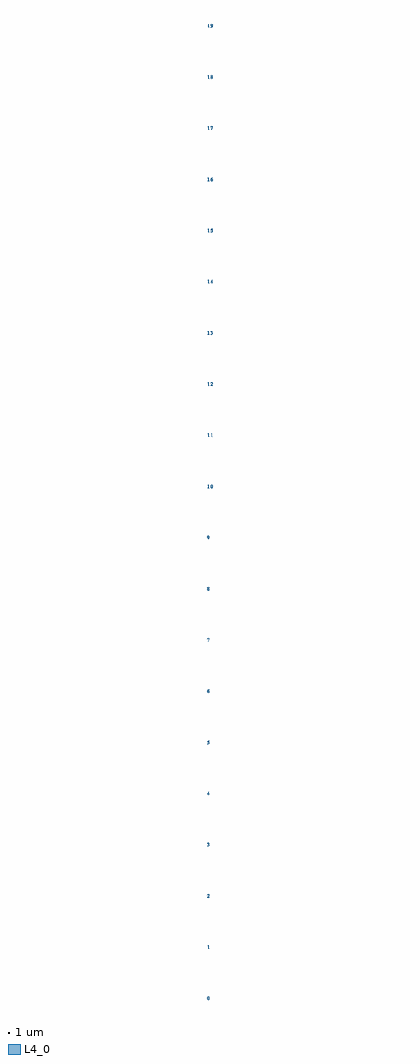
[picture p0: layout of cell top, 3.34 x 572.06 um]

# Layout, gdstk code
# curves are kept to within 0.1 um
import gdstk
lib = gdstk.Library(unit=1e-6, precision=1e-09)
def P(c, l, *ps):  # polygons
    for p in ps: c.add(gdstk.Polygon(p, *l))
L4_0 = (4, 0)

top = lib.new_cell('top')
P(top, L4_0, [(22.734,4.969),(22.6,4.989),(22.461,5.063),(22.83,5.08),(22.954,5.173),(23.023,5.322),(23.09,5.672),(23.108,6.162),(23.065,6.523),(22.96,6.813),(22.89,6.89),(22.795,6.934),(22.704,6.932),(22.618,6.885),(22.486,6.686),(22.413,6.332),(22.392,5.838),(22.442,5.453),(22.572,5.148),(22.652,5.084),(22.75,5.063),(22.461,5.063),(22.314,5.22),(22.17,5.525),(22.109,5.984),(22.149,6.374),(22.297,6.735),(22.516,6.959),(22.75,7.031),(22.892,7.008),(23.025,6.94),(23.223,6.72),(23.349,6.404),(23.391,6.016),(23.351,5.626),(23.206,5.267),(23.002,5.052),(22.889,4.996)],
  [(22.391,35),(22.391,35.047),(22.57,35.078),(22.632,35.161),(22.64,36.521),(22.629,36.685),(22.586,36.773),(22.515,36.796),(22.375,36.75),(22.359,36.797),(22.828,37.031),(22.891,37.031),(22.898,35.141),(22.953,35.078),(23.141,35.047),(23.141,35)],
  [(22.063,65),(22.063,65.047),(22.502,65.484),(22.762,65.79),(22.918,66.044),(22.997,66.312),(22.993,66.464),(22.945,66.6),(22.853,66.707),(22.756,66.768),(22.575,66.796),(22.412,66.749),(22.271,66.637),(22.172,66.469),(22.125,66.469),(22.176,66.679),(22.293,66.864),(22.484,66.994),(22.718,67.031),(22.939,66.982),(23.094,66.875),(23.211,66.703),(23.25,66.5),(23.215,66.28),(23.124,66.084),(22.996,65.898),(22.375,65.219),(23.117,65.234),(23.234,65.281),(23.328,65.375),(23.375,65.375),(23.234,65)],
  [(22.469,94.969),(22.299,94.98),(22.179,95.028),(22.125,95.125),(22.173,95.217),(22.277,95.23),(22.547,95.109),(22.731,95.101),(22.894,95.183),(23.016,95.373),(23.02,95.594),(22.906,95.828),(22.727,95.938),(22.453,95.984),(22.453,96.031),(22.66,96.1),(22.821,96.236),(22.893,96.379),(22.9,96.559),(22.813,96.734),(22.736,96.792),(22.613,96.827),(22.423,96.793),(22.307,96.71),(22.203,96.578),(22.156,96.609),(22.275,96.827),(22.401,96.948),(22.555,97.016),(22.772,97.026),(23.006,96.928),(23.133,96.75),(23.155,96.598),(23.117,96.459),(23.023,96.317),(22.875,96.172),(23.039,96.092),(23.178,95.943),(23.237,95.789),(23.245,95.565),(23.162,95.316),(22.973,95.109),(22.747,95.004)],
  [(22.891,125),(22.891,125.531),(22.047,125.531),(22.047,125.719),(22.891,125.734),(22.891,126.719),(22.188,125.734),(22.058,125.734),(22.969,127.031),(23.125,127.031),(23.125,125.734),(23.391,125.734),(23.391,125.531),(23.125,125.531),(23.125,125)],
  [(22.484,154.969),(22.334,154.984),(22.206,155.047),(22.146,155.125),(22.163,155.218),(22.221,155.258),(22.297,155.262),(22.506,155.14),(22.625,155.111),(22.835,155.151),(22.953,155.242),(23.039,155.369),(23.076,155.516),(23.062,155.689),(22.961,155.891),(22.737,156.09),(22.506,156.181),(22.203,156.219),(22.594,156.984),(23.297,156.984),(23.188,156.734),(22.594,156.734),(22.453,156.469),(22.805,156.367),(23.078,156.188),(23.219,155.969),(23.266,155.719),(23.218,155.463),(23.047,155.203),(22.785,155.029)],
  [(22.75,184.969),(22.606,184.986),(22.468,185.047),(22.858,185.054),(22.971,185.113),(23.047,185.195),(23.111,185.356),(23.125,185.516),(23.1,185.748),(23.047,185.899),(22.952,186.04),(22.802,186.119),(22.655,186.112),(22.438,186),(22.407,185.652),(22.475,185.343),(22.609,185.109),(22.797,185.047),(22.468,185.047),(22.283,185.236),(22.165,185.487),(22.125,185.781),(22.168,186.104),(22.328,186.463),(22.447,186.622),(22.636,186.805),(22.922,186.969),(23.102,187.016),(23.344,187.031),(23.344,186.969),(23.031,186.898),(22.789,186.719),(22.574,186.417),(22.453,186.109),(22.72,186.23),(22.875,186.25),(22.997,186.234),(23.215,186.106),(23.303,185.999),(23.369,185.847),(23.381,185.55),(23.33,185.378),(23.253,185.244),(23.134,185.109),(23.02,185.031)],
  [(22.547,214.953),(23.141,216.75),(22.422,216.732),(22.272,216.645),(22.156,216.5),(22.109,216.516),(22.297,216.984),(23.359,216.984),(22.703,214.953)],
  [(22.75,244.969),(22.557,244.993),(22.428,245.047),(22.884,245.059),(23.007,245.113),(23.088,245.203),(23.124,245.313),(23.101,245.474),(23.035,245.584),(22.854,245.765),(22.641,245.938),(22.493,245.779),(22.414,245.556),(22.413,245.364),(22.484,245.185),(22.623,245.074),(22.766,245.047),(22.428,245.047),(22.398,245.065),(22.236,245.25),(22.188,245.453),(22.209,245.58),(22.297,245.745),(22.578,246),(22.399,246.156),(22.813,246.156),(22.979,246.327),(23.052,246.454),(23.077,246.647),(23.012,246.829),(22.889,246.916),(22.683,246.932),(22.565,246.889),(22.475,246.807),(22.428,246.709),(22.427,246.598),(22.533,246.392),(22.813,246.156),(22.399,246.156),(22.273,246.305),(22.221,246.424),(22.203,246.547),(22.224,246.69),(22.273,246.797),(22.454,246.965),(22.719,247.031),(22.914,247.013),(23.053,246.957),(23.168,246.865),(23.253,246.737),(23.28,246.566),(23.221,246.396),(23.082,246.24),(22.875,246.094),(23.219,245.781),(23.301,245.633),(23.328,245.469),(23.289,245.279),(23.152,245.099),(22.961,244.997)],
  [(22.156,274.953),(22.156,275.016),(22.466,275.081),(22.71,275.258),(22.932,275.564),(23.047,275.875),(22.824,275.758),(22.649,275.719),(22.458,275.75),(22.296,275.859),(22.783,275.861),(22.972,275.918),(23.063,275.984),(23.094,276.281),(23.047,276.586),(22.929,276.819),(22.757,276.932),(22.584,276.908),(22.464,276.805),(22.4,276.674),(22.375,276.469),(22.389,276.287),(22.441,276.106),(22.54,275.955),(22.636,275.883),(22.75,275.859),(22.296,275.859),(22.195,275.995),(22.139,276.156),(22.127,276.378),(22.169,276.592),(22.289,276.812),(22.477,276.969),(22.7,277.03),(22.911,277.003),(23.134,276.853),(23.231,276.73),(23.32,276.547),(23.375,276.203),(23.311,275.808),(23.145,275.481),(22.857,275.183),(22.66,275.056),(22.504,274.992)],
  [(22.391,305),(22.391,305.047),(22.57,305.078),(22.632,305.161),(22.64,306.521),(22.629,306.685),(22.586,306.773),(22.515,306.796),(22.375,306.75),(22.359,306.797),(22.828,307.031),(22.891,307.031),(22.898,305.141),(22.953,305.078),(23.141,305.047),(23.141,305)],
  [(24.734,304.969),(24.6,304.989),(24.461,305.063),(24.83,305.08),(24.954,305.173),(25.023,305.322),(25.09,305.672),(25.108,306.162),(25.065,306.523),(24.96,306.813),(24.89,306.89),(24.795,306.934),(24.704,306.932),(24.618,306.885),(24.486,306.686),(24.413,306.332),(24.392,305.838),(24.442,305.453),(24.572,305.148),(24.652,305.084),(24.75,305.063),(24.461,305.063),(24.314,305.22),(24.17,305.525),(24.109,305.984),(24.149,306.374),(24.297,306.735),(24.516,306.959),(24.75,307.031),(24.892,307.008),(25.025,306.94),(25.223,306.72),(25.349,306.404),(25.391,306.016),(25.351,305.626),(25.206,305.267),(25.002,305.052),(24.889,304.996)],
  [(22.391,335),(22.391,335.047),(22.57,335.078),(22.632,335.161),(22.64,336.521),(22.629,336.685),(22.586,336.773),(22.515,336.796),(22.375,336.75),(22.359,336.797),(22.828,337.031),(22.891,337.031),(22.898,335.141),(22.953,335.078),(23.141,335.047),(23.141,335)],
  [(24.391,335),(24.391,335.047),(24.57,335.078),(24.632,335.161),(24.64,336.521),(24.629,336.685),(24.586,336.773),(24.515,336.796),(24.375,336.75),(24.359,336.797),(24.828,337.031),(24.891,337.031),(24.898,335.141),(24.953,335.078),(25.141,335.047),(25.141,335)],
  [(22.391,365),(22.391,365.047),(22.57,365.078),(22.632,365.161),(22.64,366.521),(22.629,366.685),(22.586,366.773),(22.515,366.796),(22.375,366.75),(22.359,366.797),(22.828,367.031),(22.891,367.031),(22.898,365.141),(22.953,365.078),(23.141,365.047),(23.141,365)],
  [(24.063,365),(24.063,365.047),(24.502,365.484),(24.762,365.79),(24.918,366.044),(24.997,366.312),(24.993,366.464),(24.945,366.6),(24.853,366.707),(24.756,366.768),(24.575,366.796),(24.412,366.749),(24.271,366.637),(24.172,366.469),(24.125,366.469),(24.176,366.679),(24.293,366.864),(24.484,366.994),(24.718,367.031),(24.939,366.982),(25.094,366.875),(25.211,366.703),(25.25,366.5),(25.215,366.28),(25.124,366.084),(24.996,365.898),(24.375,365.219),(25.117,365.234),(25.234,365.281),(25.328,365.375),(25.375,365.375),(25.234,365)],
  [(22.391,395),(22.391,395.047),(22.57,395.078),(22.632,395.161),(22.64,396.521),(22.629,396.685),(22.586,396.773),(22.515,396.796),(22.375,396.75),(22.359,396.797),(22.828,397.031),(22.891,397.031),(22.898,395.141),(22.953,395.078),(23.141,395.047),(23.141,395)],
  [(24.469,394.969),(24.299,394.98),(24.179,395.028),(24.125,395.125),(24.173,395.217),(24.277,395.23),(24.547,395.109),(24.731,395.101),(24.894,395.183),(25.016,395.373),(25.02,395.594),(24.906,395.828),(24.727,395.938),(24.453,395.984),(24.453,396.031),(24.66,396.1),(24.821,396.236),(24.893,396.379),(24.9,396.559),(24.813,396.734),(24.736,396.792),(24.613,396.827),(24.423,396.793),(24.307,396.71),(24.203,396.578),(24.156,396.609),(24.275,396.827),(24.401,396.948),(24.555,397.016),(24.772,397.026),(25.006,396.928),(25.133,396.75),(25.155,396.598),(25.117,396.459),(25.023,396.317),(24.875,396.172),(25.039,396.092),(25.178,395.943),(25.237,395.789),(25.245,395.565),(25.162,395.316),(24.973,395.109),(24.747,395.004)],
  [(22.391,425),(22.391,425.047),(22.57,425.078),(22.632,425.161),(22.64,426.521),(22.629,426.685),(22.586,426.773),(22.515,426.796),(22.375,426.75),(22.359,426.797),(22.828,427.031),(22.891,427.031),(22.898,425.141),(22.953,425.078),(23.141,425.047),(23.141,425)],
  [(24.891,425),(24.891,425.531),(24.047,425.531),(24.047,425.719),(24.891,425.734),(24.891,426.719),(24.188,425.734),(24.058,425.734),(24.969,427.031),(25.125,427.031),(25.125,425.734),(25.391,425.734),(25.391,425.531),(25.125,425.531),(25.125,425)],
  [(24.484,454.969),(24.334,454.984),(24.206,455.047),(24.146,455.125),(24.163,455.218),(24.221,455.258),(24.297,455.262),(24.506,455.14),(24.625,455.111),(24.835,455.151),(24.953,455.242),(25.039,455.369),(25.076,455.516),(25.062,455.689),(24.961,455.891),(24.737,456.09),(24.506,456.181),(24.203,456.219),(24.594,456.984),(25.297,456.984),(25.188,456.734),(24.594,456.734),(24.453,456.469),(24.805,456.367),(25.078,456.188),(25.219,455.969),(25.266,455.719),(25.218,455.463),(25.047,455.203),(24.785,455.029)],
  [(22.391,455),(22.391,455.047),(22.57,455.078),(22.632,455.161),(22.64,456.521),(22.629,456.685),(22.586,456.773),(22.515,456.796),(22.375,456.75),(22.359,456.797),(22.828,457.031),(22.891,457.031),(22.898,455.141),(22.953,455.078),(23.141,455.047),(23.141,455)],
  [(22.391,485),(22.391,485.047),(22.57,485.078),(22.632,485.161),(22.64,486.521),(22.629,486.685),(22.586,486.773),(22.515,486.796),(22.375,486.75),(22.359,486.797),(22.828,487.031),(22.891,487.031),(22.898,485.141),(22.953,485.078),(23.141,485.047),(23.141,485)],
  [(24.75,484.969),(24.606,484.986),(24.468,485.047),(24.858,485.054),(24.971,485.113),(25.047,485.195),(25.111,485.356),(25.125,485.516),(25.1,485.748),(25.047,485.899),(24.952,486.04),(24.802,486.119),(24.655,486.112),(24.438,486),(24.407,485.652),(24.475,485.343),(24.609,485.109),(24.797,485.047),(24.468,485.047),(24.283,485.236),(24.165,485.487),(24.125,485.781),(24.168,486.104),(24.328,486.463),(24.447,486.622),(24.636,486.805),(24.922,486.969),(25.102,487.016),(25.344,487.031),(25.344,486.969),(25.031,486.898),(24.789,486.719),(24.574,486.417),(24.453,486.109),(24.72,486.23),(24.875,486.25),(24.997,486.234),(25.215,486.106),(25.303,485.999),(25.369,485.847),(25.381,485.55),(25.33,485.378),(25.253,485.244),(25.134,485.109),(25.02,485.031)],
  [(24.547,514.953),(25.141,516.75),(24.422,516.732),(24.272,516.645),(24.156,516.5),(24.109,516.516),(24.297,516.984),(25.359,516.984),(24.703,514.953)],
  [(22.391,515),(22.391,515.047),(22.57,515.078),(22.632,515.161),(22.64,516.521),(22.629,516.685),(22.586,516.773),(22.515,516.796),(22.375,516.75),(22.359,516.797),(22.828,517.031),(22.891,517.031),(22.898,515.141),(22.953,515.078),(23.141,515.047),(23.141,515)],
  [(22.391,545),(22.391,545.047),(22.57,545.078),(22.632,545.161),(22.64,546.521),(22.629,546.685),(22.586,546.773),(22.515,546.796),(22.375,546.75),(22.359,546.797),(22.828,547.031),(22.891,547.031),(22.898,545.141),(22.953,545.078),(23.141,545.047),(23.141,545)],
  [(24.75,544.969),(24.557,544.993),(24.428,545.047),(24.884,545.059),(25.007,545.113),(25.088,545.203),(25.124,545.313),(25.101,545.474),(25.035,545.584),(24.854,545.765),(24.641,545.938),(24.493,545.779),(24.414,545.556),(24.413,545.364),(24.484,545.185),(24.623,545.074),(24.766,545.047),(24.428,545.047),(24.398,545.065),(24.236,545.25),(24.188,545.453),(24.209,545.58),(24.297,545.745),(24.578,546),(24.399,546.156),(24.813,546.156),(24.979,546.327),(25.052,546.454),(25.077,546.647),(25.012,546.829),(24.889,546.916),(24.683,546.932),(24.565,546.889),(24.475,546.807),(24.428,546.709),(24.427,546.598),(24.533,546.392),(24.813,546.156),(24.399,546.156),(24.273,546.305),(24.221,546.424),(24.203,546.547),(24.224,546.69),(24.273,546.797),(24.454,546.965),(24.719,547.031),(24.914,547.013),(25.053,546.957),(25.168,546.865),(25.253,546.737),(25.28,546.566),(25.221,546.396),(25.082,546.24),(24.875,546.094),(25.219,545.781),(25.301,545.633),(25.328,545.469),(25.289,545.279),(25.152,545.099),(24.961,544.997)],
  [(22.391,575),(22.391,575.047),(22.57,575.078),(22.632,575.161),(22.64,576.521),(22.629,576.685),(22.586,576.773),(22.515,576.796),(22.375,576.75),(22.359,576.797),(22.828,577.031),(22.891,577.031),(22.898,575.141),(22.953,575.078),(23.141,575.047),(23.141,575)],
  [(24.156,574.953),(24.156,575.016),(24.466,575.081),(24.71,575.258),(24.932,575.564),(25.047,575.875),(24.824,575.758),(24.649,575.719),(24.458,575.75),(24.296,575.859),(24.783,575.861),(24.972,575.918),(25.063,575.984),(25.094,576.281),(25.047,576.586),(24.929,576.819),(24.757,576.932),(24.584,576.908),(24.464,576.805),(24.4,576.674),(24.375,576.469),(24.389,576.287),(24.441,576.106),(24.54,575.955),(24.636,575.883),(24.75,575.859),(24.296,575.859),(24.195,575.995),(24.139,576.156),(24.127,576.378),(24.169,576.592),(24.289,576.812),(24.477,576.969),(24.7,577.03),(24.911,577.003),(25.134,576.853),(25.231,576.73),(25.32,576.547),(25.375,576.203),(25.311,575.808),(25.145,575.481),(24.857,575.183),(24.66,575.056),(24.504,574.992)])

lib.write_gds('top.gds')
